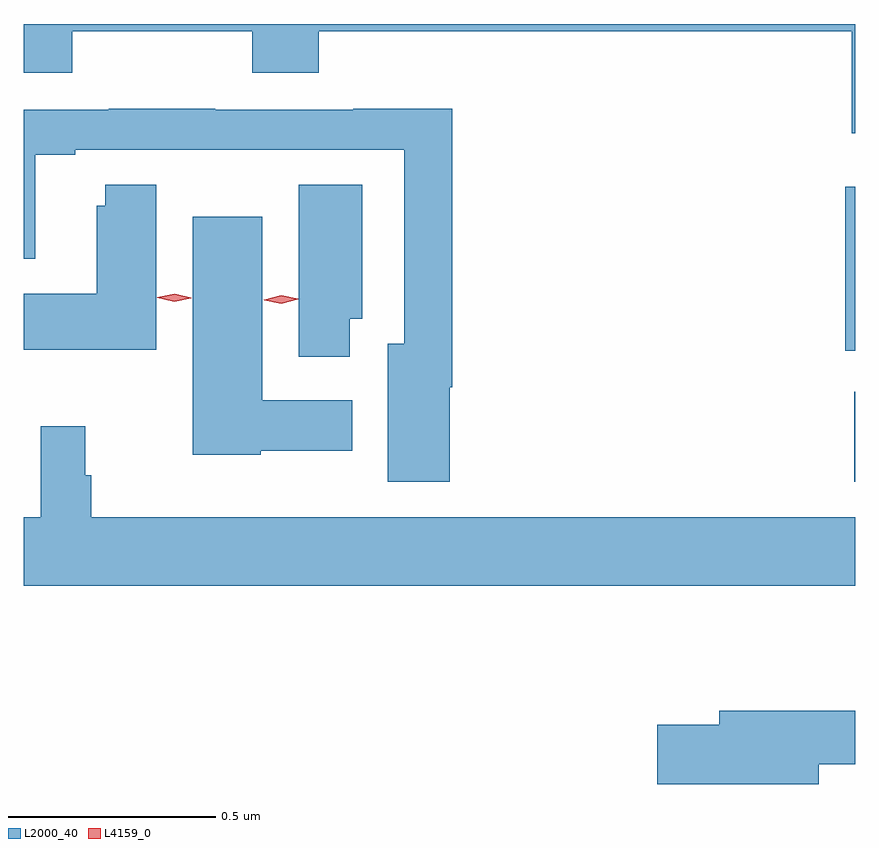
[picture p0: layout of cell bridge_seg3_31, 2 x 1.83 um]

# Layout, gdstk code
import gdstk
lib = gdstk.Library(unit=1e-6, precision=1e-09)
def R(c, l, rs):  # rectangles x0, y0, x1, y1
    for r in rs: c.add(gdstk.rectangle(r[:2], r[2:], *l))
def P(c, l, *ps):  # polygons
    for p in ps: c.add(gdstk.Polygon(p, *l))
L2000_40 = (2000, 40)
L4159_0 = (4159, 0)

bridge_seg3_31 = lib.new_cell('bridge_seg3_31')
R(bridge_seg3_31, L2000_40, [(688.397,690.51,688.4,690.726), (688.376,690.825,688.4,691.219)])
P(bridge_seg3_31, L2000_40, [(688.4,691.61),(686.4,691.61),(686.4,691.493),(686.517,691.493),(686.517,691.592),(686.95,691.592),(686.95,691.493),(687.11,691.493),(687.11,691.592),(688.391,691.592),(688.391,691.347),(688.4,691.347)],
  [(687.425,690.737),(687.431,690.737),(687.431,691.406),(687.193,691.406),(687.193,691.404),(686.861,691.404),(686.861,691.406),(686.605,691.406),(686.605,691.404),(686.4,691.404),(686.4,691.046),(686.428,691.046),(686.428,691.296),(686.524,691.296),(686.524,691.308),(687.315,691.308),(687.315,690.841),(687.275,690.841),(687.275,690.509),(687.425,690.509)],
  [(687.184,690.902),(687.214,690.902),(687.214,691.223),(687.062,691.223),(687.062,690.81),(687.184,690.81)],
  [(686.719,691.223),(686.597,691.223),(686.597,691.173),(686.576,691.173),(686.576,690.961),(686.4,690.961),(686.4,690.827),(686.719,690.827)],
  [(686.97,690.584),(687.19,690.584),(687.19,690.706),(686.974,690.706),(686.974,691.147),(686.807,691.147),(686.807,690.575),(686.97,690.575)],
  [(688.4,690.424),(686.563,690.424),(686.563,690.525),(686.548,690.525),(686.548,690.643),(686.441,690.643),(686.441,690.424),(686.4,690.424),(686.4,690.26),(688.4,690.26)],
  [(688.312,689.83),(688.4,689.83),(688.4,689.959),(688.073,689.959),(688.073,689.925),(687.924,689.925),(687.924,689.783),(688.312,689.783)])
P(bridge_seg3_31, L4159_0, [(687.019,690.938),(686.979,690.946),(686.978,690.947),(686.979,690.947),(687.019,690.958),(687.06,690.949),(687.06,690.949),(687.06,690.948)],
  [(686.762,690.942),(686.722,690.952),(686.722,690.953),(686.722,690.953),(686.763,690.962),(686.803,690.952),(686.803,690.952),(686.803,690.951)])

lib.write_gds('bridge_seg3_31.gds')
